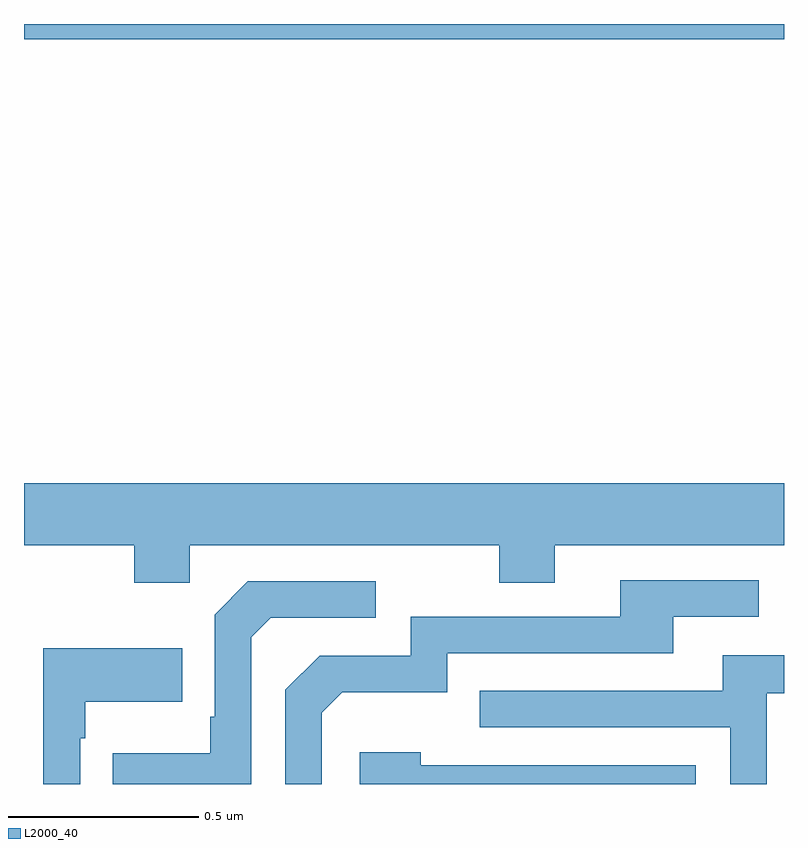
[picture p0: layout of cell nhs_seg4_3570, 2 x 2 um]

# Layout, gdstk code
import gdstk
lib = gdstk.Library(unit=1e-6, precision=1e-09)
def R(c, l, rs):  # rectangles x0, y0, x1, y1
    for r in rs: c.add(gdstk.rectangle(r[:2], r[2:], *l))
def P(c, l, *ps):  # polygons
    for p in ps: c.add(gdstk.Polygon(p, *l))
L2000_40 = (2000, 40)

nhs_seg4_3570 = lib.new_cell('nhs_seg4_3570')
R(nhs_seg4_3570, L2000_40, [(155,756.86,157,756.9)])
P(nhs_seg4_3570, L2000_40, [(155.436,755.528),(156.25,755.528),(156.25,755.429),(156.397,755.429),(156.397,755.528),(157,755.528),(157,755.692),(155,755.692),(155,755.528),(155.29,755.528),(155.29,755.429),(155.436,755.429)],
  [(155.784,755.088),(155.837,755.141),(156.114,755.141),(156.114,755.244),(156.709,755.244),(156.709,755.34),(156.934,755.34),(156.934,755.436),(156.569,755.436),(156.569,755.34),(156.018,755.34),(156.018,755.238),(155.778,755.238),(155.688,755.148),(155.688,754.9),(155.784,754.9)],
  [(155.598,755.286),(155.649,755.337),(155.926,755.337),(155.926,755.433),(155.589,755.433),(155.502,755.346),(155.502,755.077),(155.49,755.077),(155.49,754.981),(155.233,754.981),(155.233,754.9),(155.598,754.9)],
  [(155.148,755.021),(155.161,755.021),(155.161,755.117),(155.417,755.117),(155.417,755.257),(155.051,755.257),(155.051,754.9),(155.148,754.9)],
  [(156.954,755.139),(157,755.139),(157,755.239),(156.839,755.239),(156.839,755.145),(156.199,755.145),(156.199,755.049),(156.858,755.049),(156.858,754.9),(156.954,754.9)],
  [(156.768,754.95),(156.044,754.95),(156.044,754.984),(155.883,754.984),(155.883,754.9),(156.768,754.9)])

lib.write_gds('nhs_seg4_3570.gds')
